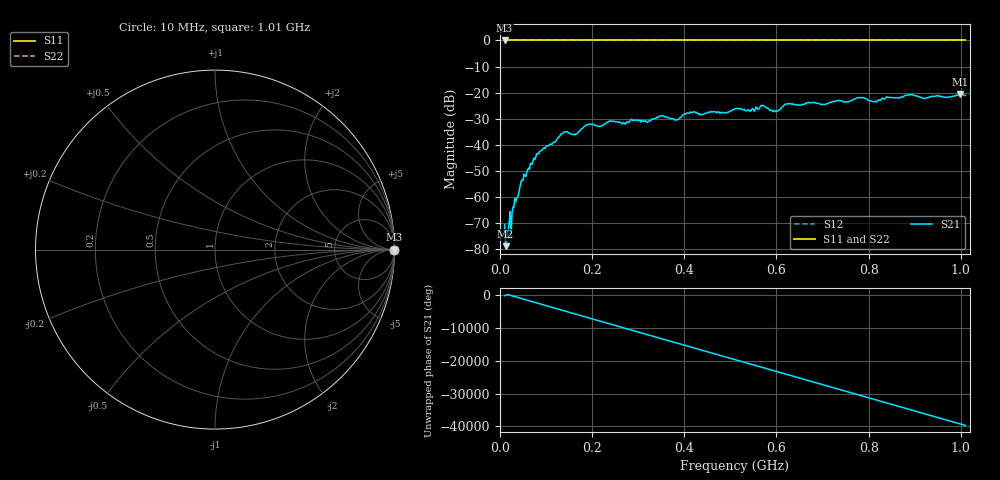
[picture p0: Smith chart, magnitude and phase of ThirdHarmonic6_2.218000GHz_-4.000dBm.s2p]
! 8/17/2025 2:24:59 AM
! C:\ANRITSUVNA\TEMP\TEMP.S2P
! CHANNEL.1
! TR.MEASUREMENT
! RAW.DATA
! RF.CORRECTION.OFF
! AVERAGING.OFF
! IF.BANDWIDTH: 5KHZ
! SWEEPTYPE:  FREQ.SWEEP(Linear)
! Reference Plane Port Info
! PORT:  PORT1  PORT2
! DISTANCE:  0  m  0  m
! TIME:  0  s  0  s
! PHASE.OFFSET:  0  deg.  0  deg.
! LOSS:  0  dB  0  dB
! REF.LOSS:  0  dB  0  dB
! REF.FREQ:  0  Hz  0  Hz
! Power Info
! POWER:  -20  dBm  -20  dBm
! EFF.POWER:  -20  dBm  -20  dBm
! SOURCE.ATTEN:  0  dB  0  dB
! TEST.ATTEN:  0  dB  0  dB
# GHZ S RI R 50.0
! FREQ.GHZ  S11RE  S11IM  S21RE  S21IM  S12RE  S12IM  S22RE  S22IM
!; PortSelection: Port_12
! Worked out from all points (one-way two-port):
!   501 points, 10 MHz to 1.01 GHz, reference 50 ohm
!   highest |S21| = -20.50 dB at 998 MHz (marker M1); lowest = -78.9 dB at 12 MHz (marker M2)
!   lowest |S11| = 0.0 dB at 10 MHz (marker M3)
!   |S11| at or under -10 dB: nowhere
!   |S22| runs from 0.0 to 0.0 dB; largest |S21 - S12| = 1.1
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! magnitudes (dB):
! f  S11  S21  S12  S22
! 10 MHz  0.0  -70.7  0.0  0.0
! 12 MHz  0.0  -78.9  0.0  0.0
! 20 MHz  0.0  -69.8  0.0  0.0
! 30 MHz  0.0  -64.1  0.0  0.0
! 48 MHz  0.0  -53.5  0.0  0.0
! 78 MHz  0.0  -44.5  0.0  0.0
! 136 MHz  0.0  -35.7  0.0  0.0
! 164 MHz  0.0  -35.8  0.0  0.0
! 178 MHz  0.0  -33.8  0.0  0.0
! 344 MHz  0.0  -29.5  0.0  0.0
! 384 MHz  0.0  -30.4  0.0  0.0
! 416 MHz  0.0  -27.7  0.0  0.0
! 510 MHz  0.0  -26.3  0.0  0.0
! 570 MHz  0.0  -24.9  0.0  0.0
! 596 MHz  0.0  -26.8  0.0  0.0
! 624 MHz  0.0  -24.2  0.0  0.0
! 678 MHz  0.0  -23.9  0.0  0.0
! 784 MHz  0.0  -22.0  0.0  0.0
! 814 MHz  0.0  -23.3  0.0  0.0
! 844 MHz  0.0  -21.9  0.0  0.0
! 998 MHz  0.0  -20.5  0.0  0.0
! 1.01 GHz  0.0  -21.1  0.0  0.0
